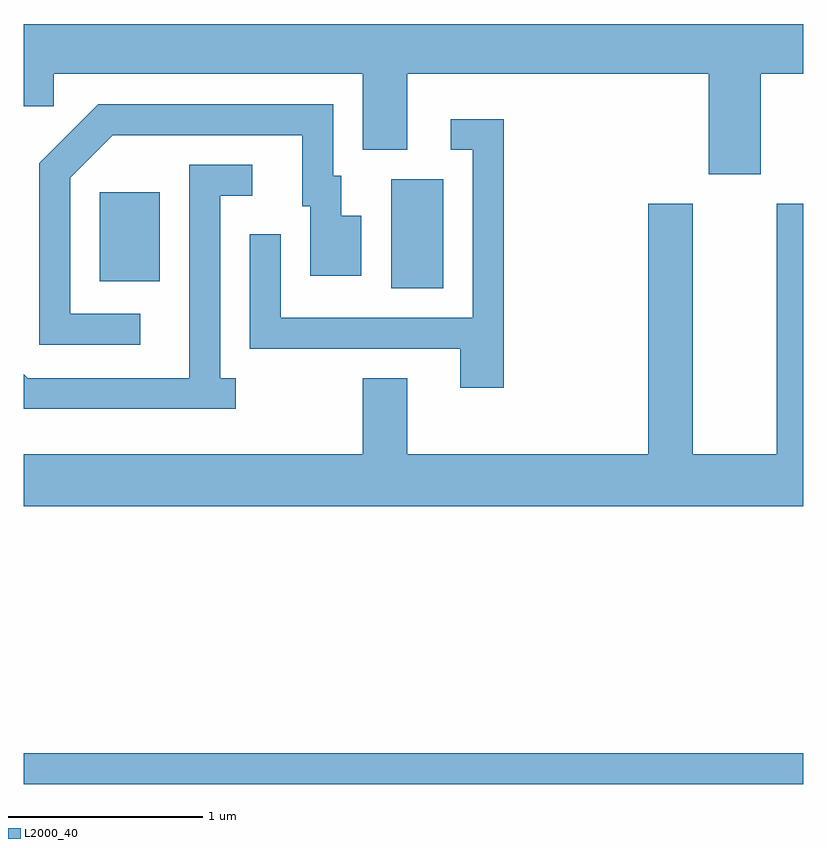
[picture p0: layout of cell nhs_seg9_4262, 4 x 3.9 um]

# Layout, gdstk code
import gdstk
lib = gdstk.Library(unit=1e-6, precision=1e-09)
def R(c, l, rs):  # rectangles x0, y0, x1, y1
    for r in rs: c.add(gdstk.rectangle(r[:2], r[2:], *l))
def P(c, l, *ps):  # polygons
    for p in ps: c.add(gdstk.Polygon(p, *l))
L2000_40 = (2000, 40)

nhs_seg9_4262 = lib.new_cell('nhs_seg9_4262')
R(nhs_seg9_4262, L2000_40, [(309.611,2072.531,313.611,2072.689), (311.496,2075.076,311.764,2075.634), (310.001,2075.111,310.309,2075.569)])
P(nhs_seg9_4262, L2000_40, [(309.611,2076.011),(309.764,2076.011),(309.764,2076.176),(311.351,2076.176),(311.351,2075.786),(311.579,2075.786),(311.579,2076.176),(313.126,2076.176),(313.126,2075.661),(313.394,2075.661),(313.394,2076.176),(313.611,2076.176),(313.611,2076.432),(309.611,2076.432)],
  [(310.208,2074.944),(309.849,2074.944),(309.849,2075.644),(310.067,2075.861),(311.041,2075.861),(311.041,2075.496),(311.081,2075.496),(311.081,2075.141),(311.344,2075.141),(311.344,2075.449),(311.239,2075.449),(311.239,2075.654),(311.199,2075.654),(311.199,2076.019),(309.994,2076.019),(309.691,2075.717),(309.691,2074.786),(310.208,2074.786)],
  [(312.074,2075.944),(311.803,2075.944),(311.803,2075.786),(311.916,2075.786),(311.916,2074.924),(310.929,2074.924),(310.929,2075.353),(310.771,2075.353),(310.771,2074.766),(311.851,2074.766),(311.851,2074.566),(312.074,2074.566)],
  [(310.698,2074.614),(310.619,2074.614),(310.619,2075.551),(310.783,2075.551),(310.783,2075.709),(310.461,2075.709),(310.461,2074.614),(309.632,2074.614),(309.611,2074.635),(309.611,2074.456),(310.698,2074.456)],
  [(313.611,2075.509),(313.476,2075.509),(313.476,2074.224),(313.044,2074.224),(313.044,2075.509),(312.816,2075.509),(312.816,2074.224),(311.579,2074.224),(311.579,2074.614),(311.351,2074.614),(311.351,2074.224),(309.611,2074.224),(309.611,2073.956),(313.611,2073.956)])

lib.write_gds('nhs_seg9_4262.gds')
